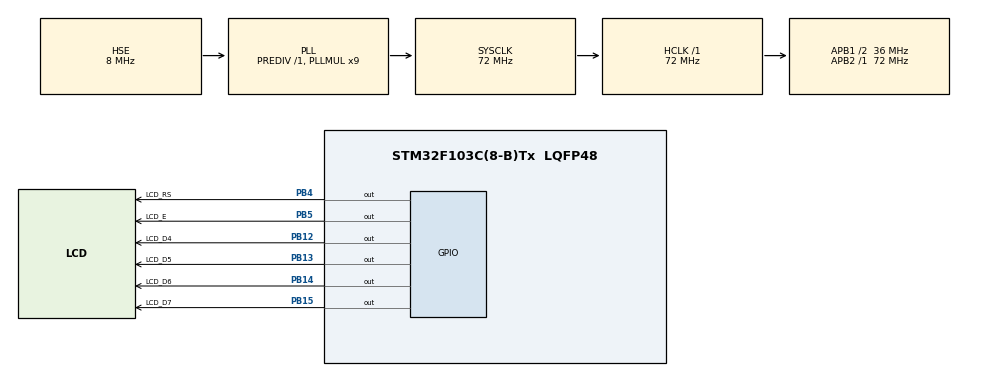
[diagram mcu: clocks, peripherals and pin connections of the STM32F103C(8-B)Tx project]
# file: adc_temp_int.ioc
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ADC1.Channel-0\#ChannelRegularConversion=ADC_CHANNEL_TEMPSENSOR
ADC1.NbrOfConversionFlag=1
ADC1.Rank-0\#ChannelRegularConversion=1
ADC1.SamplingTime-0\#ChannelRegularConversion=ADC_SAMPLETIME_1CYCLE_5
ADC1.master=1
Mcu.Family=STM32F1
Mcu.Name=STM32F103C(8-B)Tx
Mcu.Package=LQFP48
NVIC.PriorityGroup=NVIC_PRIORITYGROUP_4
PA13.Mode=Serial_Wire
PA13.Signal=SYS_JTMS-SWDIO
PA14.Mode=Serial_Wire
PA14.Signal=SYS_JTCK-SWCLK
PB12.GPIO_Label=LCD_D4
PB12.Signal=GPIO_Output
PB13.GPIO_Label=LCD_D5
PB13.Signal=GPIO_Output
PB14.GPIO_Label=LCD_D6
PB14.Signal=GPIO_Output
PB15.GPIO_Label=LCD_D7
PB15.Signal=GPIO_Output
PB4.GPIO_Label=LCD_RS
PB4.Signal=GPIO_Output
PB5.GPIO_Label=LCD_E
PB5.Signal=GPIO_Output
PD0-OSC_IN.Mode=HSE-External-Oscillator
PD0-OSC_IN.Signal=RCC_OSC_IN
PD1-OSC_OUT.Mode=HSE-External-Oscillator
PD1-OSC_OUT.Signal=RCC_OSC_OUT
ProjectManager.HeapSize=0x200
ProjectManager.StackSize=0x400
ProjectManager.TargetToolchain=SW4STM32
RCC.ADCPresc=RCC_ADCPCLK2_DIV6
RCC.AHBFreq_Value=72000000
RCC.APB1CLKDivider=RCC_HCLK_DIV2
RCC.APB1Freq_Value=36000000
RCC.APB1TimFreq_Value=72000000
RCC.APB2Freq_Value=72000000
RCC.APB2TimFreq_Value=72000000
RCC.HCLKFreq_Value=72000000
RCC.PLLMUL=RCC_PLL_MUL9
RCC.PLLSourceVirtual=RCC_PLLSOURCE_HSE
RCC.SYSCLKFreq_VALUE=72000000
RCC.SYSCLKSource=RCC_SYSCLKSOURCE_PLLCLK
RCC.USBFreq_Value=72000000
VP_ADC1_TempSens_Input.Mode=IN-TempSens
board=custom

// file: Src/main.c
/**
  ******************************************************************************
  * @file           : main.c
  * @brief          : Main program body
  ******************************************************************************
  ** This notice applies to any and all portions of this file
  * that are not between comment pairs USER CODE BEGIN and
  * USER CODE END. Other portions of this file, whether
  * inserted by the user or by software development tools
  * are owned by their respective copyright owners.
  *
  * COPYRIGHT(c) 2018 STMicroelectronics
  *
  * Redistribution and use in source and binary forms, with or without modification,
  * are permitted provided that the following conditions are met:
  *   1. Redistributions of source code must retain the above copyright notice,
  *      this list of conditions and the following disclaimer.
  *   2. Redistributions in binary form must reproduce the above copyright notice,
  *      this list of conditions and the following disclaimer in the documentation
  *      and/or other materials provided with the distribution.
  *   3. Neither the name of STMicroelectronics nor the names of its contributors
  *      may be used to endorse or promote products derived from this software
  *      without specific prior written permission.
  *
  * THIS SOFTWARE IS PROVIDED BY THE COPYRIGHT HOLDERS AND CONTRIBUTORS "AS IS"
  * AND ANY EXPRESS OR IMPLIED WARRANTIES, INCLUDING, BUT NOT LIMITED TO, THE
  * IMPLIED WARRANTIES OF MERCHANTABILITY AND FITNESS FOR A PARTICULAR PURPOSE ARE
  * DISCLAIMED. IN NO EVENT SHALL THE COPYRIGHT HOLDER OR CONTRIBUTORS BE LIABLE
  * FOR ANY DIRECT, INDIRECT, INCIDENTAL, SPECIAL, EXEMPLARY, OR CONSEQUENTIAL
  * DAMAGES (INCLUDING, BUT NOT LIMITED TO, PROCUREMENT OF SUBSTITUTE GOODS OR
  * SERVICES; LOSS OF USE, DATA, OR PROFITS; OR BUSINESS INTERRUPTION) HOWEVER
  * CAUSED AND ON ANY THEORY OF LIABILITY, WHETHER IN CONTRACT, STRICT LIABILITY,
  * OR TORT (INCLUDING NEGLIGENCE OR OTHERWISE) ARISING IN ANY WAY OUT OF THE USE
  * OF THIS SOFTWARE, EVEN IF ADVISED OF THE POSSIBILITY OF SUCH DAMAGE.
  *
  ******************************************************************************
  */
#include "main.h"
#include "stm32f1xx_hal.h"

/* USER CODE BEGIN Includes */
#include "hd44780.h"
/* USER CODE END Includes */

ADC_HandleTypeDef hadc1;

/* USER CODE BEGIN PV */
/* Private variables ---------------------------------------------------------*/

/* USER CODE END PV */

void SystemClock_Config(void);
static void MX_GPIO_Init(void);
static void MX_ADC1_Init(void);

/* USER CODE BEGIN PFP */
/* Private function prototypes -----------------------------------------------*/

/* USER CODE END PFP */

int main(void)
{
  /* USER CODE BEGIN 1 */
	uint16_t ADC1_Value, TemperatureC;

	const uint16_t V25 = 1750;// when V25=1.41V at ref 3.3V
	const uint16_t Avg_Slope = 5; //when avg_slope=4.3mV/C at ref 3.3V

  /* USER CODE END 1 */

  /* MCU Configuration----------------------------------------------------------*/

  /* Reset of all peripherals, Initializes the Flash interface and the Systick. */
  HAL_Init();

  /* Configure the system clock */
  SystemClock_Config();

  /* Initialize all configured peripherals */
  MX_GPIO_Init();
  MX_ADC1_Init();
  /* USER CODE BEGIN 2 */
  HAL_Delay(100);
  lcdInit();
  /* USER CODE END 2 */

  /* Infinite loop */
  /* USER CODE BEGIN WHILE */
  while (1)
  {
	  lcdClrScr();

	  lcdGoto(LCD_1st_LINE,0);
	  lcdPuts("Temperatura Int.\nT=");

      HAL_ADC_Start(&hadc1);
      HAL_ADC_PollForConversion(&hadc1, 50);

      if(HAL_IS_BIT_SET(HAL_ADC_GetState(&hadc1), HAL_ADC_STATE_REG_EOC))
      {
          ADC1_Value = HAL_ADC_GetValue(&hadc1);
          TemperatureC = (uint16_t)((V25-ADC1_Value)/Avg_Slope+25);
          lcdItos(TemperatureC);
    	  lcdPuts(" Graus");
      }

	  HAL_Delay(1000);
  /* USER CODE END WHILE */

  }

}

void SystemClock_Config(void)
{

  RCC_OscInitTypeDef RCC_OscInitStruct;
  RCC_ClkInitTypeDef RCC_ClkInitStruct;
  RCC_PeriphCLKInitTypeDef PeriphClkInit;

    /**Initializes the CPU, AHB and APB busses clocks
    */
  RCC_OscInitStruct.OscillatorType = RCC_OSCILLATORTYPE_HSE;
  RCC_OscInitStruct.HSEState = RCC_HSE_ON;
  RCC_OscInitStruct.HSEPredivValue = RCC_HSE_PREDIV_DIV1;
  RCC_OscInitStruct.HSIState = RCC_HSI_ON;
  RCC_OscInitStruct.PLL.PLLState = RCC_PLL_ON;
  RCC_OscInitStruct.PLL.PLLSource = RCC_PLLSOURCE_HSE;
  RCC_OscInitStruct.PLL.PLLMUL = RCC_PLL_MUL9;
  if (HAL_RCC_OscConfig(&RCC_OscInitStruct) != HAL_OK)
  {
    _Error_Handler(__FILE__, __LINE__);
  }

    /**Initializes the CPU, AHB and APB busses clocks
    */
  RCC_ClkInitStruct.ClockType = RCC_CLOCKTYPE_HCLK|RCC_CLOCKTYPE_SYSCLK
                              |RCC_CLOCKTYPE_PCLK1|RCC_CLOCKTYPE_PCLK2;
  RCC_ClkInitStruct.SYSCLKSource = RCC_SYSCLKSOURCE_PLLCLK;
  RCC_ClkInitStruct.AHBCLKDivider = RCC_SYSCLK_DIV1;
  RCC_ClkInitStruct.APB1CLKDivider = RCC_HCLK_DIV2;
  RCC_ClkInitStruct.APB2CLKDivider = RCC_HCLK_DIV1;

  if (HAL_RCC_ClockConfig(&RCC_ClkInitStruct, FLASH_LATENCY_2) != HAL_OK)
  {
    _Error_Handler(__FILE__, __LINE__);
  }

  PeriphClkInit.PeriphClockSelection = RCC_PERIPHCLK_ADC;
  PeriphClkInit.AdcClockSelection = RCC_ADCPCLK2_DIV6;
  if (HAL_RCCEx_PeriphCLKConfig(&PeriphClkInit) != HAL_OK)
  {
    _Error_Handler(__FILE__, __LINE__);
  }

    /**Configure the Systick interrupt time
    */
  HAL_SYSTICK_Config(HAL_RCC_GetHCLKFreq()/1000);

    /**Configure the Systick
    */
  HAL_SYSTICK_CLKSourceConfig(SYSTICK_CLKSOURCE_HCLK);

  /* SysTick_IRQn interrupt configuration */
  HAL_NVIC_SetPriority(SysTick_IRQn, 0, 0);
}

/* ADC1 init function */
static void MX_ADC1_Init(void)
{

  ADC_ChannelConfTypeDef sConfig;

    /**Common config
    */
  hadc1.Instance = ADC1;
  hadc1.Init.ScanConvMode = ADC_SCAN_DISABLE;
  hadc1.Init.ContinuousConvMode = DISABLE;
  hadc1.Init.DiscontinuousConvMode = DISABLE;
  hadc1.Init.ExternalTrigConv = ADC_SOFTWARE_START;
  hadc1.Init.DataAlign = ADC_DATAALIGN_RIGHT;
  hadc1.Init.NbrOfConversion = 1;
  if (HAL_ADC_Init(&hadc1) != HAL_OK)
  {
    _Error_Handler(__FILE__, __LINE__);
  }

    /**Configure Regular Channel
    */
  sConfig.Channel = ADC_CHANNEL_TEMPSENSOR;
  sConfig.Rank = ADC_REGULAR_RANK_1;
  sConfig.SamplingTime = ADC_SAMPLETIME_1CYCLE_5;
  if (HAL_ADC_ConfigChannel(&hadc1, &sConfig) != HAL_OK)
  {
    _Error_Handler(__FILE__, __LINE__);
  }

}

/** Configure pins as
        * Analog
        * Input
        * Output
        * EVENT_OUT
        * EXTI
*/
static void MX_GPIO_Init(void)
{

  GPIO_InitTypeDef GPIO_InitStruct;

  /* GPIO Ports Clock Enable */
  __HAL_RCC_GPIOD_CLK_ENABLE();
  __HAL_RCC_GPIOB_CLK_ENABLE();
  __HAL_RCC_GPIOA_CLK_ENABLE();

  /*Configure GPIO pin Output Level */
  HAL_GPIO_WritePin(GPIOB, LCD_D4_Pin|LCD_D5_Pin|LCD_D6_Pin|LCD_D7_Pin
                          |LCD_RS_Pin|LCD_E_Pin, GPIO_PIN_RESET);

  /*Configure GPIO pins : LCD_D4_Pin LCD_D5_Pin LCD_D6_Pin LCD_D7_Pin
                           LCD_RS_Pin LCD_E_Pin */
  GPIO_InitStruct.Pin = LCD_D4_Pin|LCD_D5_Pin|LCD_D6_Pin|LCD_D7_Pin
                          |LCD_RS_Pin|LCD_E_Pin;
  GPIO_InitStruct.Mode = GPIO_MODE_OUTPUT_PP;
  GPIO_InitStruct.Pull = GPIO_NOPULL;
  GPIO_InitStruct.Speed = GPIO_SPEED_FREQ_LOW;
  HAL_GPIO_Init(GPIOB, &GPIO_InitStruct);

}

void _Error_Handler(char *file, int line)
{
  while(1)
  {
  }
}

/************************ (C) COPYRIGHT STMicroelectronics *****END OF FILE****/
